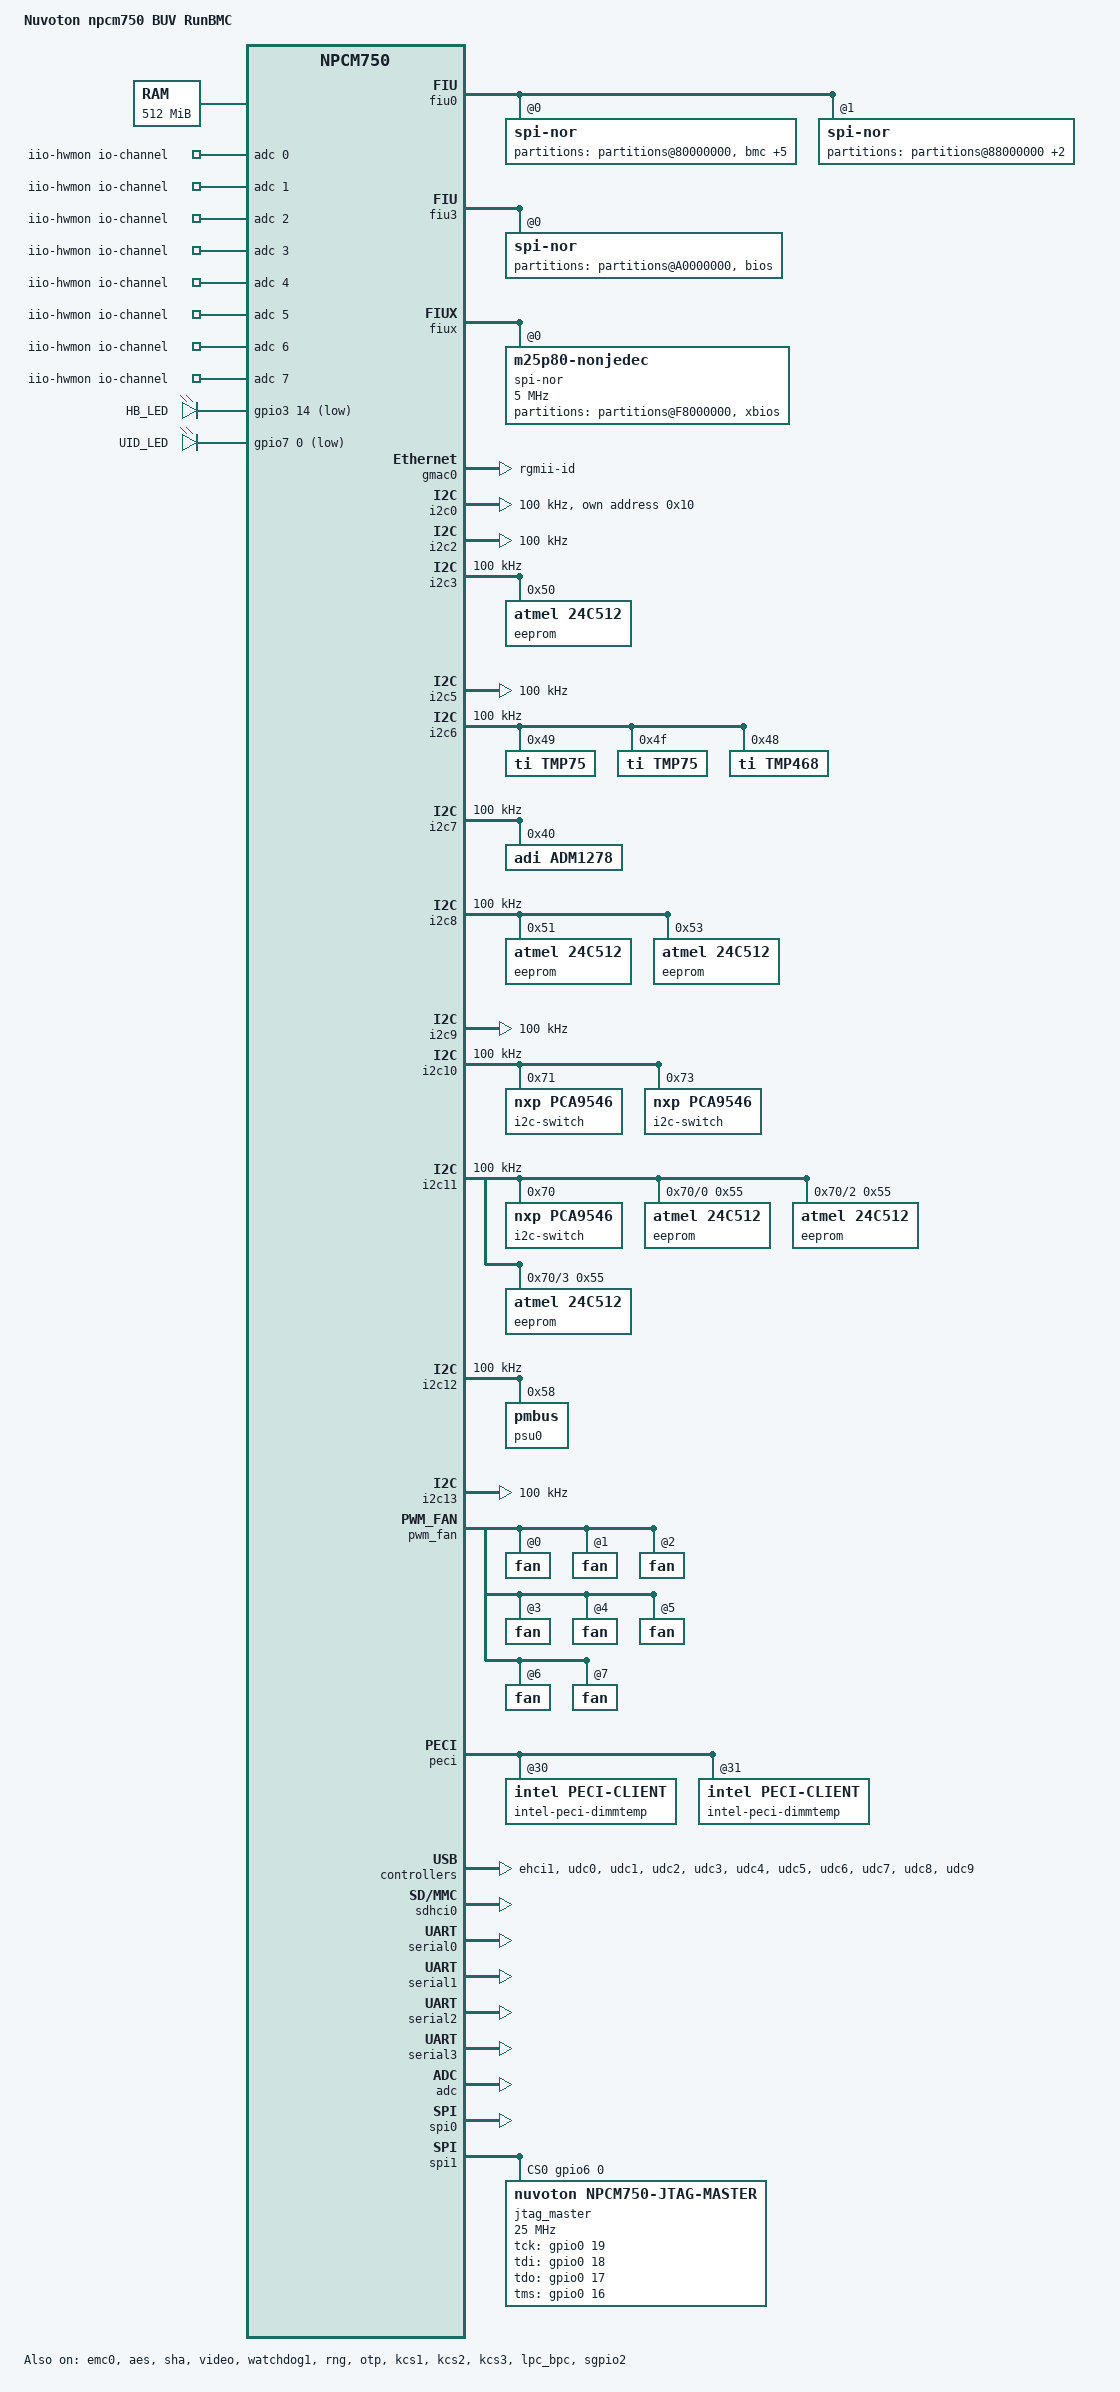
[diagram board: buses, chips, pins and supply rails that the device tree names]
// SPDX-License-Identifier: GPL-2.0
// Copyright (c) 2019 Nuvoton Technology kwliu@nuvoton.com

/dts-v1/;
#include "nuvoton-npcm750.dtsi"
#include "nuvoton-npcm750-buv-runbmc-pincfg.dtsi"

#include <dt-bindings/i2c/i2c.h>
#include <dt-bindings/gpio/gpio.h>

/ {
	model = "Nuvoton npcm750 BUV RunBMC";
	compatible = "nuvoton,npcm750";

	aliases {
		ethernet0 = &emc0;
		ethernet1 = &gmac0;
		serial0 = &serial0;
		serial1 = &serial1;
		serial2 = &serial2;
		serial3 = &serial3;
		udc0 = &udc0;
		udc1 = &udc1;
		udc2 = &udc2;
		udc3 = &udc3;
		udc4 = &udc4;
		udc5 = &udc5;
		udc6 = &udc6;
		udc7 = &udc7;
		udc8 = &udc8;
		udc9 = &udc9;
		emmc0 = &sdhci0;
		i2c0 = &i2c0;
		i2c1 = &i2c1;
		i2c2 = &i2c2;
		i2c3 = &i2c3;
		i2c4 = &i2c4;
		i2c5 = &i2c5;
		i2c6 = &i2c6;
		i2c7 = &i2c7;
		i2c8 = &i2c8;
		i2c9 = &i2c9;
		i2c10 = &i2c10;
		i2c11 = &i2c11;
		i2c12 = &i2c12;
		i2c13 = &i2c13;
		spi0 = &spi0;
		spi1 = &spi1;
		fiu0 = &fiu0;
		fiu1 = &fiu3;
		fiu2 = &fiux;
	};

	chosen {
		stdout-path = &serial3;
	};

	memory {
		reg = <0 0x20000000>;
	};	

	reserved-memory {
		#address-cells = <1>;
		#size-cells = <1>;
		ranges;

        video_memory: framebuffer@0x1b000000 {
                       compatible = "shared-dma-pool";
                       reg = <0x1b000000 0x01800000>;
                       reusable;
                       linux,cma-default;
		};

	};

	iio-hwmon {
		compatible = "iio-hwmon";
		io-channels = <&adc 0>, <&adc 1>, <&adc 2>, <&adc 3>,
			<&adc 4>, <&adc 5>, <&adc 6>, <&adc 7>;
	};

	leds {
		compatible = "gpio-leds";
		heartbeat {
			label = "HB_LED";
			gpios = <&gpio3 14 1>;
		};

		identify {
			label = "UID_LED";
			gpios = <&gpio7 0 1>;
		};
	};
};
&fiu0 {
	pinctrl-names = "default";
	pinctrl-0 = <&spi0cs1_pins>;
	status = "okay";

	spi-nor@0 {
		compatible = "jedec,spi-nor";
		#address-cells = <1>;
		#size-cells = <1>;
		reg = <0>;
		spi-rx-bus-width = <2>;

		partitions@80000000 {
			compatible = "fixed-partitions";
			#address-cells = <1>;
			#size-cells = <1>;
			bmc@0{
				label = "bmc";
				reg = <0x000000 0x4000000>;
			};
			u-boot@0 {
				label = "u-boot";
				reg = <0x0000000 0xC0000>;
				read-only;
			};
			u-boot-env@100000{
				label = "u-boot-env";
				reg = <0x00100000 0x40000>;
			};
			kernel@200000 {
				label = "kernel";
				reg = <0x0200000 0x600000>;
			};
			rofs@800000 {
				label = "rofs";
				reg = <0x800000 0x3500000>;
			};
			rwfs@1d00000 {
				label = "rwfs";
				reg = <0x3d00000 0x300000>;
			};
		};
	};

	spi-nor@1 {
		compatible = "jedec,spi-nor";
		#address-cells = <1>;
		#size-cells = <1>;
		reg = <1>;
		npcm,fiu-rx-bus-width = <2>;

		partitions@88000000 {
			compatible = "fixed-partitions";
			#address-cells = <1>;
			#size-cells = <1>;
			spare1@0 {
				label = "spi0-cs1-spare1";
				reg = <0x0 0x800000>;
			};
			spare2@800000 {
				label = "spi0-cs1-spare2";
				reg = <0x800000 0x0>;
			};
		};
	};
};

&fiu3 {
	pinctrl-0 = <&spi3_pins>;
	status = "okay";

	spi-nor@0 {
		compatible = "jedec,spi-nor";
		#address-cells = <1>;
		#size-cells = <1>;
		reg = <0>;
		spi-rx-bus-width = <1>;

		partitions@A0000000 {
			compatible = "fixed-partitions";
			#address-cells = <1>;
			#size-cells = <1>;
			bios@0 {
				label = "bios";
				reg = <0x0 0x4000000>;
			};
		};
	};
};

&fiux {
	pinctrl-0 = <&spix_pins>;
	spix-mode;
	spi-nor@0 {
		compatible = "m25p80-nonjedec";
		spi-max-frequency = <5000000>;
		#address-cells = <1>;
		#size-cells = <1>;
		reg = <0>;
		spi-rx-bus-width = <1>;

		partitions@F8000000 {
			compatible = "fixed-partitions";
			#address-cells = <1>;
			#size-cells = <1>;
			xbios@0 {
				label = "xbios";
				reg = <0x0 0x2000000>;
			};
		};
	};
};

&gcr {
	mux-controller {
		compatible = "mmio-mux";
		#mux-control-cells = <1>;

		mux-reg-masks = <0x38 0x07>;
		idle-states = <1>;
	};
};

&gmac0 {
	phy-mode = "rgmii-id";
	snps,eee-force-disable;
	status = "okay";
};

&emc0 {
	status = "okay";
	use-ncsi;
};

&i2c0 {
        #address-cells = <1>;
        #size-cells = <0>;
        clock-frequency = <100000>;
        status = "okay";
        bmc_slave@10 {
               compatible = "ipmb-dev";
               reg = <(0x10 | I2C_OWN_SLAVE_ADDRESS)>;
               i2c-protocol;
        };
};

&i2c2 {
	#address-cells = <1>;
	#size-cells = <0>;
	clock-frequency= <100000>;
	status = "okay";
};

&i2c3 {
	#address-cells = <1>;
	#size-cells = <0>;
	clock-frequency = <100000>;
	status = "okay";

	eeprom@50 {
		compatible = "atmel,24c512";
		reg = <0x50>;
		pagesize = <128>;
	};
};

&i2c5 {
	#address-cells = <1>;
	#size-cells = <0>;
	clock-frequency = <100000>;
	status = "okay";
};

&i2c6 {
	#address-cells = <1>;
	#size-cells = <0>;
	clock-frequency = <100000>;
	status = "okay";

	tmp75@49 {
			compatible = "ti,tmp75";
			reg = <0x49>;
			status = "okay";
	};

	tmp75@4f {
			compatible = "ti,tmp75";
			reg = <0x4f>;
			status = "okay";
	};

	tmp468@48 {
			compatible = "ti,tmp468";
			reg = <0x48>;
	};
};

&i2c7 {
	#address-cells = <1>;
	#size-cells = <0>;
	clock-frequency = <100000>;
	status = "okay";

	status = "okay";
	adm1278@40 {
			compatible = "adi,adm1278";
			reg = <0x40>;
	};
};

&i2c8 {
	#address-cells = <1>;
	#size-cells = <0>;
	clock-frequency = <100000>;
	status = "okay";

	eeprom@51 {
			compatible = "atmel,24c512";
			reg = <0x51>;
			pagesize = <128>;
	};

	eeprom@53 {
			compatible = "atmel,24c512";
			reg = <0x53>;
			pagesize = <128>;
	};
};

&i2c9 {
	#address-cells = <1>;
	#size-cells = <0>;
	clock-frequency = <100000>;
	status = "okay";
};

&i2c10 {
	#address-cells = <1>;
	#size-cells = <0>;
	clock-frequency = <100000>;
	status = "okay";
        i2c-switch@71 {
                        compatible = "nxp,pca9546";
                        #address-cells = <1>;
                        #size-cells = <0>;
                        reg = <0x71>;
        };

        i2c-switch@73 {
                        compatible = "nxp,pca9546";
                        #address-cells = <1>;
                        #size-cells = <0>;
                        reg = <0x73>;
        };
};

&i2c11 {
	#address-cells = <1>;
	#size-cells = <0>;
	clock-frequency = <100000>;
	status = "okay";

        i2c-switch@70 {
            compatible = "nxp,pca9546";
            #address-cells = <1>;
            #size-cells = <0>;
            reg = <0x70>;

            pcie_eeprom_riser1: i2c@0 {
                #address-cells = <1>;
                #size-cells = <0>;
                reg = <0>;

                eeprom@55 {
                    compatible = "atmel,24c512";
                    reg = <0x55>;
                    pagesize = <128>;
                };
            };
            pcie_eeprom_riser2: i2c@2 {
                #address-cells = <1>;
                #size-cells = <0>;
                reg = <2>;

                eeprom@55 {
                    compatible = "atmel,24c512";
                    reg = <0x55>;
                    pagesize = <128>;
                };
            };

            pcie_eeprom_riser3: i2c@3 {
                #address-cells = <1>;
                #size-cells = <0>;
                reg = <3>;

                eeprom@55 {
                    compatible = "atmel,24c512";
                    reg = <0x55>;
                    pagesize = <128>;
                };
            };
        };
};

&i2c12 {
	#address-cells = <1>;
	#size-cells = <0>;
	clock-frequency = <100000>;
	status = "okay";

        psu0:psu0@58 {
            compatible = "pmbus";
            reg = <0x58>;
        };
};

&i2c13 {
	#address-cells = <1>;
	#size-cells = <0>;
	clock-frequency = <100000>;
	status = "okay";
};

&pwm_fan {
	pinctrl-names = "default";
	pinctrl-0 = <&pwm0_pins &pwm1_pins
			&pwm2_pins &pwm3_pins
			&pwm4_pins &pwm5_pins
			&pwm6_pins &pwm7_pins
			&fanin0_pins &fanin1_pins
			&fanin2_pins &fanin3_pins
			&fanin4_pins &fanin5_pins
			&fanin6_pins &fanin7_pins
			&fanin8_pins &fanin9_pins
			&fanin10_pins &fanin11_pins
			&fanin12_pins &fanin13_pins
			&fanin14_pins &fanin15_pins>;
	status = "okay";
	fan@0 {
		reg = <0x00>;
		fan-tach-ch = /bits/ 8 <0x00 0x01>;
		cooling-levels = <127 255>;
		fan_filter_en;
	};
	fan@1 {
		reg = <0x01>;
		fan-tach-ch = /bits/ 8 <0x02 0x03>;
		cooling-levels = /bits/ 8 <127 255>;
		fan_filter_en;
	};
	fan@2 {
		reg = <0x02>;
		fan-tach-ch = /bits/ 8 <0x04 0x05>;
		cooling-levels = /bits/ 8 <127 255>;
		fan_filter_en;
	};
	fan@3 {
		reg = <0x03>;
		fan-tach-ch = /bits/ 8 <0x06 0x07>;
		cooling-levels = /bits/ 8 <127 255>;
	};
	fan@4 {
		reg = <0x04>;
		fan-tach-ch = /bits/ 8 <0x08 0x09>;
		cooling-levels = /bits/ 8 <127 255>;
	};
	fan@5 {
		reg = <0x05>;
		fan-tach-ch = /bits/ 8 <0x0A 0x0B>;
		cooling-levels = /bits/ 8 <127 255>;
	};
	fan@6 {
		reg = <0x06>;
		fan-tach-ch = /bits/ 8 <0x0C 0x0D>;
		cooling-levels = /bits/ 8 <127 255>;
	};
	fan@7 {
		reg = <0x07>;
		fan-tach-ch = /bits/ 8 <0x0E 0x0F>;
		cooling-levels = /bits/ 8 <127 255>;
	};
};

&peci {
	cmd-timeout-ms = <1000>;
	pull-down = <0>;
	host-neg-bit-rate = <15>;
	status = "okay";

	intel-peci-dimmtemp@30 {
		compatible = "intel,peci-client";
		reg = <0x30>;
	};
	intel-peci-dimmtemp@31 {
		compatible = "intel,peci-client";
		reg = <0x31>;
	};
};

&ehci1 {
	status = "okay";
};

&ohci1 {
	status = "disable";
};

&udc0 {
	status = "okay";
};

&udc1 {
	status = "okay";
};

&udc2 {
	status = "okay";
};

&udc3 {
	status = "okay";
};

&udc4 {
	status = "okay";
};

&udc5 {
	status = "okay";
};

&udc6 {
	status = "okay";
};

&udc7 {
	status = "okay";
};

&udc8 {
	status = "okay";
};

&udc9 {
	status = "okay";
};

&aes {
	status = "okay";
};

&sha {
	status = "okay";
};


&sdhci0 {
	status = "okay";
};

&pcimbox {
	status = "okay";
};

&video {
       memory-region = <&video_memory>;
       status = "okay";
};

&watchdog1 {
	nuvoton,ext1-reset-type = "wd1";
	status = "okay";
};

&rng {
	status = "okay";
};

&serial0 {
	status = "okay";
};

&serial1 {
	status = "okay";
};

&serial2 {
	status = "okay";
};

&serial3 {
	status = "okay";
};

&adc {
	#io-channel-cells = <1>;
	status = "okay";
};

&otp {
	status = "okay";
};

&kcs1 {
	status = "okay";
};

&kcs2 {
	status = "okay";
};

&kcs3 {
	status = "okay";
};

&lpc_bpc {
	monitor-ports = <0x80>;
	status = "okay";
};

&spi0 {
	cs-gpios = <&gpio6 11 GPIO_ACTIVE_LOW>;
	status = "okay";
};

&spi1 {
	cs-gpios = <&gpio6 0 GPIO_ACTIVE_HIGH>;
	pinctrl-names = "default";
	pinctrl-0 = <&gpio17_pins &gpio18o_pins
				&gpio19ol_pins>;
	status = "okay";
	jtag_master {
		compatible = "nuvoton,npcm750-jtag-master";
		spi-max-frequency = <25000000>;
		reg = <0>;

		pinctrl-names = "pspi", "gpio";
		pinctrl-0 = <&pspi2_pins>;
		pinctrl-1 = <&gpio17_pins &gpio18o_pins
				&gpio19ol_pins>;

		tck-gpios = <&gpio0 19 GPIO_ACTIVE_HIGH>;
		tdi-gpios = <&gpio0 18 GPIO_ACTIVE_HIGH>;
		tdo-gpios = <&gpio0 17 GPIO_ACTIVE_HIGH>;
		tms-gpios = <&gpio0 16 GPIO_ACTIVE_HIGH>;
		status = "okay";
	};
};

&pinctrl {
		pinctrl-names = "default";
		pinctrl-0 = <
				&ddc_pins
				&wdog1_pins
				&wdog2_pins
				&gpio1o_pins
				&gpio138o_pins
				&gpio139o_pins
				&gpio89o_pins
				&gpio143o_pins
				&gpio9o_pins
				&gpio231o_pins
				&gpio140o_pins
				&gpio142o_pins
				&gpio90o_pins
				&gpio88o_pins
				&gpio141o_pins
				&gpio87o_pins
				&gpio11o_pins
				&gpio24o_pins
				&gpio137o_pins
				&gpio25o_pins
				&gpio84_pins
				&gpio85_pins
				&gpio122_pins
				&gpio124_pins
				&gpio125_pins
				&gpio126_pins
				&gpio225ol_pins
				&gpio227ol_pins
				&gpio4_pins
				&gpio5_pins
				&gpio6_pins
				&gpio7_pins				
				>;
};
&gpio0 {
 	gpio-line-names =
 	/*0-31*/
 	"","","","PSU1_ALERT","","","","",
 	"","","","JTAG_MUX_SEL","","","","",
 	"","","","","","","POWER_OUT","RESET_OUT",
	"","","","","","","","";
 };

 &gpio2 {
	gpio-line-names =
	/*64-95*/
	"","","","","","","","",
	"","","","","","","","",
	"","","","","","","RST_BMC_SGPIO","",
	"PCH_SMI_ACTIVE_N","","","PS_PWROK","","NMI_OUT","","";
};

&gpio3 {
	gpio-line-names =
	/*96-127*/
	"","","","","","","","",
	"","","","","","","","",
	"","","","","","","","",
	"","","","BMC_ASD_JTAG_EN","PCH_THERMTRIP","","","";
};

&gpio4 {
	gpio-line-names =
	/*128-159*/
	"","","","","","","","",
	"SPI_BMC_PROG_CPLD_R_EN","PRDY_N","BMC_READY","I2C_HSC_ALERT","","","","",
	"","","","","","","","",
	"","","","","","","","";
};

&gpio5 {
	gpio-line-names =
	/*160-191*/
	"","","","","","","","",
	"","","","","","","","",
	"","","","","","","","",
	"","","","","","PREQ_N","","";
};

&gpio6 {
	gpio-line-names =
	/*192-223*/
	"","","","","","","","",
	"TCK_MUX_SEL","","","","","","","",
	"","","","","","","","",
	"","","","","","","","";
};

&sgpio2 {
	status = "okay";
	bus-frequency = <1000000>;
	nin_gpios = <40>;
	nout_gpios = <40>;
	gpio-line-names = "","","","","","","","",
	"","","","RST_CPU_I2C_MUX_R_N","RST_BMC_EDSFF_I2C_R_N","RST_BMC_CPU_I2C_R_N","RST_PE_I2C_MUX_R_N","",
	"","","","","","","","",
	"","","","","","","","",
	"","","","","","","","",
	"CPU1_MEMTRIP_N","CPU_ERROR0_N","CPU_ERROR1_N","CPU_ERROR2_N","MIPI_PRSNT_BMC","PCH_HOT_N","","BIOS_POST_CMPLT_N",
	"PROC1MEM_VRHOT_N","PROC0_MEMHOT_OUT_N","PROC1_MEMHOT_OUT_N","CPU0_PROCHOT_N","CPU1_PROCHOT_N","CPU0_THERMTRIP_N","CPU1_THERMTRIP_N","CPU0_MEMTRIP_N",
	"CPU_PWR_FAIL","DIMM_MODULE_POWER_FAIL","","PCH_PWR_FAIL","","PROC0_VRHOT_N","PROC1_VRHOT_N","PROC0MEM_VRHOT_N",
	"","","NMI_SW","INTRUDER","","","","MEM_CONTROLLER_PWR_FAIL",
	"","","","","","","","";
};
